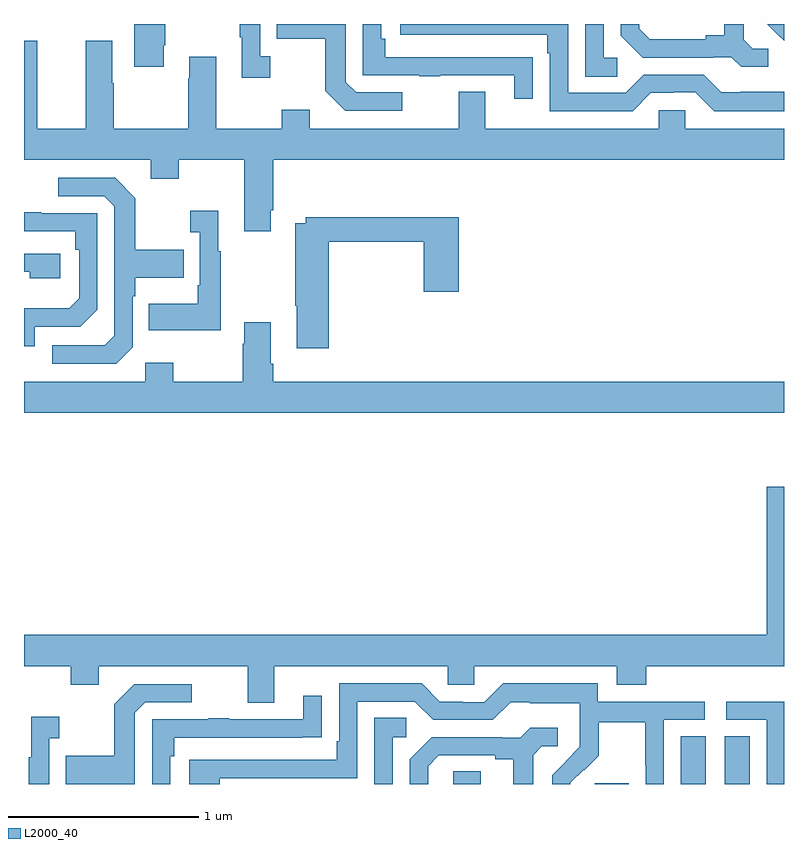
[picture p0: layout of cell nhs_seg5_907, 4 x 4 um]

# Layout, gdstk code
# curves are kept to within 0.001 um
import gdstk
lib = gdstk.Library(unit=1e-6, precision=1e-09)
def R(c, l, rs):  # rectangles x0, y0, x1, y1
    for r in rs: c.add(gdstk.rectangle(r[:2], r[2:], *l))
def P(c, l, *ps):  # polygons
    for p in ps: c.add(gdstk.Polygon(p, *l))
L2000_40 = (2000, 40)

nhs_seg5_907 = lib.new_cell('nhs_seg5_907')
R(nhs_seg5_907, L2000_40, [(171.258,862.799,171.403,862.865), (172.004,862.799,172.183,862.803), (172.457,862.799,172.588,863.051), (172.688,862.799,172.819,863.051)])
P(nhs_seg5_907, L2000_40, [(171.677,866.624),(171.575,866.624),(171.575,866.625),(170.9,866.625),(170.9,866.722),(170.88,866.722),(170.88,866.799),(170.784,866.799),(170.784,866.529),(171.079,866.529),(171.079,866.524),(171.191,866.524),(171.191,866.529),(171.581,866.529),(171.581,866.406),(171.677,866.406)],
  [(172.918,866.67),(172.836,866.67),(172.789,866.717),(172.789,866.799),(172.685,866.799),(172.685,866.741),(172.589,866.741),(172.589,866.718),(172.294,866.718),(172.237,866.775),(172.237,866.799),(172.14,866.799),(172.14,866.738),(172.256,866.622),(172.628,866.622),(172.628,866.625),(172.722,866.625),(172.774,866.573),(172.918,866.573)],
  [(172.123,866.622),(172.05,866.622),(172.05,866.799),(171.954,866.799),(171.954,866.521),(172.123,866.521)],
  [(170.992,866.439),(170.748,866.439),(170.694,866.493),(170.694,866.799),(170.329,866.799),(170.329,866.722),(170.586,866.722),(170.586,866.449),(170.691,866.343),(170.992,866.343)],
  [(169.735,866.686),(169.743,866.686),(169.743,866.799),(169.573,866.799),(169.573,866.797),(169.58,866.797),(169.58,866.574),(169.735,866.574)],
  [(170.296,866.63),(170.244,866.63),(170.244,866.799),(170.136,866.799),(170.136,866.729),(170.147,866.729),(170.147,866.517),(170.296,866.517)],
  [(173,866.799),(172.913,866.799),(172.963,866.749),(172.962,866.748),(173,866.71)],
  [(173,866.443),(172.771,866.443),(172.771,866.439),(172.671,866.439),(172.578,866.532),(172.263,866.532),(172.167,866.436),(171.864,866.436),(171.864,866.799),(170.979,866.799),(170.979,866.742),(171.755,866.742),(171.755,866.645),(171.768,866.645),(171.768,866.34),(172.203,866.34),(172.299,866.436),(172.418,866.436),(172.418,866.439),(172.533,866.439),(172.633,866.339),(173,866.339)],
  [(170.299,865.819),(170.312,865.819),(170.312,866.084),(173,866.084),(173,866.248),(172.479,866.248),(172.479,866.346),(172.341,866.346),(172.341,866.248),(171.427,866.248),(171.427,866.443),(171.287,866.443),(171.287,866.248),(170.503,866.248),(170.503,866.347),(170.356,866.347),(170.356,866.248),(170.011,866.248),(170.011,866.626),(169.871,866.626),(169.871,866.513),(169.864,866.513),(169.864,866.248),(169.473,866.248),(169.473,866.486),(169.465,866.486),(169.465,866.71),(169.325,866.71),(169.325,866.248),(169.069,866.248),(169.069,866.71),(169,866.71),(169,866.084),(169.667,866.084),(169.667,865.985),(169.815,865.985),(169.815,866.084),(170.159,866.084),(170.159,865.707),(170.299,865.707)],
  [(169.572,865.098),(169.572,865.367),(169.585,865.367),(169.585,865.463),(169.841,865.463),(169.841,865.611),(169.585,865.611),(169.585,865.883),(169.479,865.989),(169.179,865.989),(169.179,865.893),(169.422,865.893),(169.476,865.839),(169.476,865.158),(169.425,865.107),(169.149,865.107),(169.149,865.011),(169.485,865.011)],
  [(170.035,865.603),(170.023,865.603),(170.023,865.816),(169.875,865.816),(169.875,865.703),(169.926,865.703),(169.926,865.423),(169.914,865.423),(169.914,865.327),(169.657,865.327),(169.657,865.187),(170.035,865.187)],
  [(169.056,865.206),(169.296,865.206),(169.386,865.296),(169.386,865.803),(169.091,865.803),(169.091,865.808),(169,865.808),(169,865.707),(169.27,865.707),(169.27,865.61),(169.29,865.61),(169.29,865.356),(169.237,865.303),(169,865.303),(169,865.104),(169.056,865.104)],
  [(170.603,865.654),(171.104,865.654),(171.104,865.389),(171.287,865.389),(171.287,865.783),(170.484,865.783),(170.484,865.75),(170.428,865.75),(170.428,865.315),(170.435,865.315),(170.435,865.092),(170.603,865.092)],
  [(169.192,865.59),(169,865.59),(169,865.494),(169.031,865.494),(169.031,865.46),(169.192,865.46)],
  [(173,864.916),(170.312,864.916),(170.312,865.012),(170.299,865.012),(170.299,865.228),(170.159,865.228),(170.159,865.115),(170.152,865.115),(170.152,864.916),(169.785,864.916),(169.785,865.015),(169.638,865.015),(169.638,864.916),(169,864.916),(169,864.752),(173,864.752)],
  [(170.317,863.42),(171.231,863.42),(171.231,863.322),(171.369,863.322),(171.369,863.42),(172.121,863.42),(172.121,863.321),(172.274,863.321),(172.274,863.42),(173,863.42),(173,864.364),(172.91,864.364),(172.91,863.584),(169,863.584),(169,863.42),(169.246,863.42),(169.246,863.321),(169.393,863.321),(169.393,863.42),(170.177,863.42),(170.177,863.226),(170.317,863.226)],
  [(170.03,862.83),(170.754,862.83),(170.754,863.232),(171.057,863.232),(171.153,863.136),(171.468,863.136),(171.561,863.229),(171.661,863.229),(171.661,863.225),(171.924,863.225),(171.924,863.091),(171.926,863.091),(171.926,862.994),(171.78,862.846),(171.78,862.799),(171.875,862.799),(171.875,862.805),(171.945,862.875),(171.948,862.872),(172.025,862.949),(172.025,863.124),(172.27,863.124),(172.27,862.9),(172.272,862.9),(172.272,862.799),(172.368,862.799),(172.368,863.136),(172.582,863.136),(172.582,863.232),(172.02,863.232),(172.02,863.329),(171.523,863.329),(171.423,863.229),(171.308,863.229),(171.308,863.232),(171.189,863.232),(171.093,863.328),(170.658,863.328),(170.658,863.023),(170.645,863.023),(170.645,862.926),(169.869,862.926),(169.869,862.799),(170.03,862.799)],
  [(169.584,863.175),(169.638,863.229),(169.882,863.229),(169.882,863.325),(169.581,863.325),(169.476,863.219),(169.476,862.947),(169.219,862.947),(169.219,862.799),(169.584,862.799)],
  [(169.77,862.946),(169.79,862.946),(169.79,863.043),(170.465,863.043),(170.465,863.044),(170.567,863.044),(170.567,863.263),(170.471,863.263),(170.471,863.139),(170.081,863.139),(170.081,863.144),(169.969,863.144),(169.969,863.139),(169.674,863.139),(169.674,862.799),(169.77,862.799)],
  [(173,863.232),(172.695,863.232),(172.695,863.136),(172.908,863.136),(172.908,862.799),(173,862.799)],
  [(169.134,863.039),(169.186,863.039),(169.186,863.152),(169.037,863.152),(169.037,862.939),(169.026,862.939),(169.026,862.799),(169.134,862.799)],
  [(170.94,863.046),(171.013,863.046),(171.013,863.147),(170.844,863.147),(170.844,862.799),(170.94,862.799)],
  [(171.127,862.893),(171.184,862.95),(171.479,862.95),(171.479,862.928),(171.575,862.928),(171.575,862.799),(171.679,862.799),(171.679,862.951),(171.726,862.998),(171.808,862.998),(171.808,863.095),(171.664,863.095),(171.612,863.043),(171.518,863.043),(171.518,863.046),(171.146,863.046),(171.03,862.93),(171.03,862.799),(171.127,862.799)])

lib.write_gds('nhs_seg5_907.gds')
